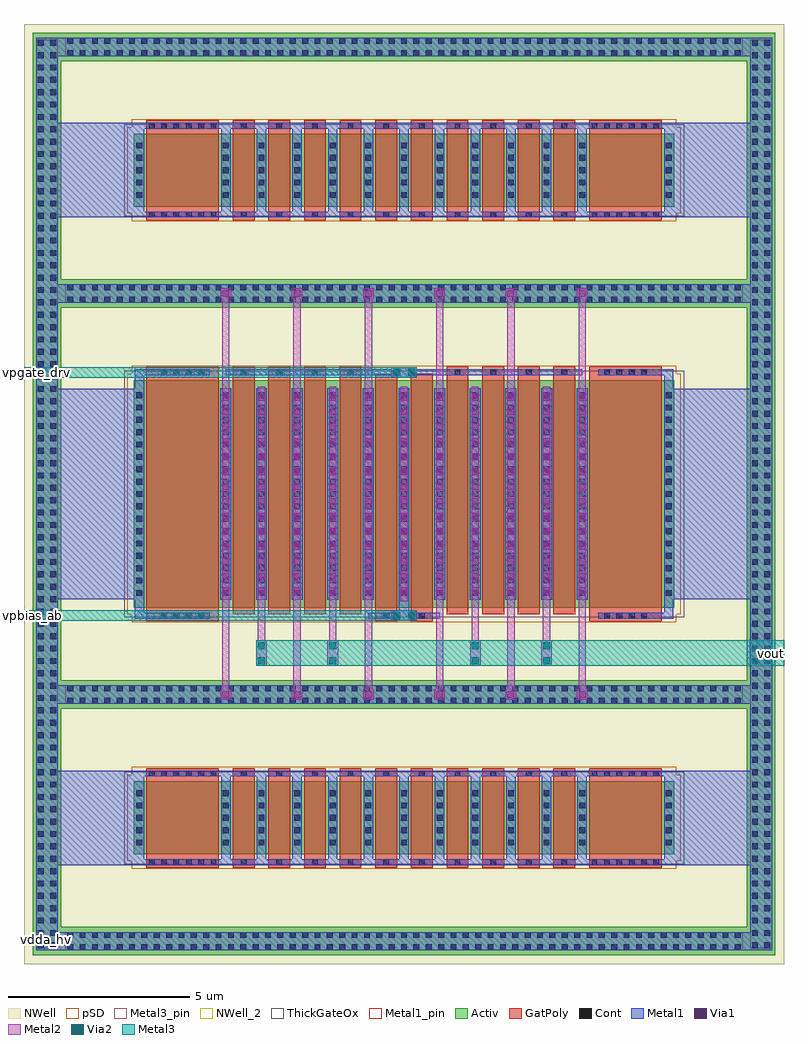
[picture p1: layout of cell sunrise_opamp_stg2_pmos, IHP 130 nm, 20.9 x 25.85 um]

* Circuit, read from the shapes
.subckt sunrise_opamp_stg2_pmos vdda_hv vout vpbias_ab vpgate_drv
XM1 vdda_hv vdda_hv vdda_hv vdda_hv sg13_hv_pmos w=2u l=2u m=4
XM2 vdda_hv vdda_hv vdda_hv vdda_hv sg13_hv_pmos w=6.25u l=2u m=2
XM3 vdda_hv vdda_hv vdda_hv vdda_hv sg13_hv_pmos w=2u l=0.6u m=20
XM4 vout vpgate_drv vdda_hv vdda_hv sg13_hv_pmos w=6.25u l=0.6u m=8
XM5 vpbias_ab vpbias_ab vdda_hv vdda_hv sg13_hv_pmos w=6.25u l=0.6u m=2
.ends

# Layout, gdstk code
from math import pi, radians
import gdstk
lib = gdstk.Library(unit=1e-6, precision=1e-09)
def R(c, l, rs):  # rectangles x0, y0, x1, y1
    for r in rs: c.add(gdstk.rectangle(r[:2], r[2:], *l))
def A(c, l, x, y, w, h, nx, ny, dx, dy):  # array of equal rectangles
    R(c, l, [(x+i*dx, y+j*dy, x+i*dx+w, y+j*dy+h) for i in range(nx) for j in range(ny)])
Activ = (1, 0)
GatPoly = (5, 0)
Cont = (6, 0)
Metal1 = (8, 0)
Metal1_pin = (8, 2)
Metal2 = (10, 0)
pSD = (14, 0)
Via1 = (19, 0)
Via2 = (29, 0)
Metal3 = (30, 0)
Metal3_pin = (30, 2)
NWell = (31, 0)
NWell_2 = (31, 2)
ThickGateOx = (44, 0)

sg13_hv_pmos_vvxtlb = lib.new_cell('sg13_hv_pmos_VVXTLB')
R(sg13_hv_pmos_vvxtlb, Activ, [(-1.13,-3.03,1.13,3.22)])
R(sg13_hv_pmos_vvxtlb, GatPoly, [(-0.79,-3.4,-0.19,3.4), (0.19,-3.4,0.79,3.4)])
A(sg13_hv_pmos_vvxtlb, Cont, -1.06, -2.705, 0.16, 0.16, 3, 17, 0.98, 0.34)
R(sg13_hv_pmos_vvxtlb, Cont, [(-0.57,-3.33,-0.41,-3.17), (0.41,-3.33,0.57,-3.17)])
A(sg13_hv_pmos_vvxtlb, Metal1, -1.13, -2.81, 0.3, 5.81, 3, 1, 0.98, 0)
R(sg13_hv_pmos_vvxtlb, Metal1, [(-0.98,-3.33,0.98,-3.17)])
A(sg13_hv_pmos_vvxtlb, Metal2, -1.08, -2.85, 0.2, 5.89, 3, 1, 0.98, 0)
R(sg13_hv_pmos_vvxtlb, pSD, [(-1.19,-3.43,1.19,-3.21), (-1.31,-3.21,1.31,3.4), (-1.19,3.4,1.19,3.62)])
A(sg13_hv_pmos_vvxtlb, Via1, -1.075, -2.665, 0.19, 0.19, 3, 14, 0.98, 0.41)
R(sg13_hv_pmos_vvxtlb, NWell, [(-1.75,-3.65,1.75,3.84)])
R(sg13_hv_pmos_vvxtlb, ThickGateOx, [(-1.4,-3.3,1.4,3.49)])
sg13_hv_pmos_vvxtlb.add(gdstk.Label('D0', (-0.98,0.095), layer=8, texttype=25))
sg13_hv_pmos_vvxtlb.add(gdstk.Label('G', (0.49,-3.25), layer=8, texttype=25))
sg13_hv_pmos_vvxtlb.add(gdstk.Label('G', (-0.49,-3.25), layer=8, texttype=25))
sg13_hv_pmos_vvxtlb.add(gdstk.Label('S1', (0,0.095), layer=8, texttype=25))

sg13_hv_pmos_d7lrqr = lib.new_cell('sg13_hv_pmos_D7LRQR')
R(sg13_hv_pmos_d7lrqr, Activ, [(-2.11,-3.22,2.11,3.03)])
A(sg13_hv_pmos_d7lrqr, GatPoly, -1.77, -3.4, 0.6, 6.8, 4, 1, 0.98, 0)
A(sg13_hv_pmos_d7lrqr, Cont, -2.04, -2.895, 0.16, 0.16, 5, 17, 0.98, 0.34)
A(sg13_hv_pmos_d7lrqr, Cont, -1.55, 3.17, 0.16, 0.16, 4, 1, 0.98, 0)
A(sg13_hv_pmos_d7lrqr, Metal1, -2.11, -3, 0.3, 5.81, 5, 1, 0.98, 0)
R(sg13_hv_pmos_d7lrqr, Metal1, [(-1.96,3.17,1.96,3.33)])
A(sg13_hv_pmos_d7lrqr, Metal2, -2.06, -3.04, 0.2, 5.89, 5, 1, 0.98, 0)
R(sg13_hv_pmos_d7lrqr, pSD, [(-2.17,-3.62,2.17,-3.4), (-2.29,-3.4,2.29,3.21), (-2.17,3.21,2.17,3.43)])
A(sg13_hv_pmos_d7lrqr, Via1, -2.055, -2.855, 0.19, 0.19, 5, 14, 0.98, 0.41)
R(sg13_hv_pmos_d7lrqr, NWell, [(-2.73,-3.84,2.73,3.65)])
R(sg13_hv_pmos_d7lrqr, ThickGateOx, [(-2.38,-3.49,2.38,3.3)])
sg13_hv_pmos_d7lrqr.add(gdstk.Label('D0', (-1.96,-0.095), layer=8, texttype=25))
sg13_hv_pmos_d7lrqr.add(gdstk.Label('G', (1.47,3.25), layer=8, texttype=25))
sg13_hv_pmos_d7lrqr.add(gdstk.Label('G', (0.49,3.25), layer=8, texttype=25))
sg13_hv_pmos_d7lrqr.add(gdstk.Label('G', (-0.49,3.25), layer=8, texttype=25))
sg13_hv_pmos_d7lrqr.add(gdstk.Label('G', (-1.47,3.25), layer=8, texttype=25))
sg13_hv_pmos_d7lrqr.add(gdstk.Label('S1', (-0.98,-0.095), layer=8, texttype=25))
sg13_hv_pmos_d7lrqr.add(gdstk.Label('D2', (0,-0.095), layer=8, texttype=25))
sg13_hv_pmos_d7lrqr.add(gdstk.Label('S3', (0.98,-0.095), layer=8, texttype=25))

sg13_hv_pmos_d7lrqr_1 = lib.new_cell('sg13_hv_pmos_D7LRQR$1')
R(sg13_hv_pmos_d7lrqr_1, Activ, [(-2.11,-3.22,2.11,3.03)])
A(sg13_hv_pmos_d7lrqr_1, GatPoly, -1.77, -3.4, 0.6, 6.8, 4, 1, 0.98, 0)
A(sg13_hv_pmos_d7lrqr_1, Cont, -2.04, -2.895, 0.16, 0.16, 5, 17, 0.98, 0.34)
A(sg13_hv_pmos_d7lrqr_1, Cont, -1.55, 3.17, 0.16, 0.16, 4, 1, 0.98, 0)
A(sg13_hv_pmos_d7lrqr_1, Metal1, -2.11, -3, 0.3, 5.81, 5, 1, 0.98, 0)
R(sg13_hv_pmos_d7lrqr_1, Metal1, [(-1.96,3.17,1.96,3.33)])
A(sg13_hv_pmos_d7lrqr_1, Metal2, -2.06, -3.04, 0.2, 5.89, 5, 1, 0.98, 0)
R(sg13_hv_pmos_d7lrqr_1, pSD, [(-2.17,-3.62,2.17,-3.4), (-2.29,-3.4,2.29,3.21), (-2.17,3.21,2.17,3.43)])
A(sg13_hv_pmos_d7lrqr_1, Via1, -2.055, -2.855, 0.19, 0.19, 5, 14, 0.98, 0.41)
R(sg13_hv_pmos_d7lrqr_1, NWell, [(-2.73,-3.84,2.73,3.65)])
R(sg13_hv_pmos_d7lrqr_1, ThickGateOx, [(-2.38,-3.49,2.38,3.3)])
sg13_hv_pmos_d7lrqr_1.add(gdstk.Label('D0', (-1.96,-0.095), layer=8, texttype=25))
sg13_hv_pmos_d7lrqr_1.add(gdstk.Label('G', (1.47,3.25), layer=8, texttype=25))
sg13_hv_pmos_d7lrqr_1.add(gdstk.Label('G', (0.49,3.25), layer=8, texttype=25))
sg13_hv_pmos_d7lrqr_1.add(gdstk.Label('G', (-0.49,3.25), layer=8, texttype=25))
sg13_hv_pmos_d7lrqr_1.add(gdstk.Label('G', (-1.47,3.25), layer=8, texttype=25))
sg13_hv_pmos_d7lrqr_1.add(gdstk.Label('S1', (-0.98,-0.095), layer=8, texttype=25))
sg13_hv_pmos_d7lrqr_1.add(gdstk.Label('D2', (0,-0.095), layer=8, texttype=25))
sg13_hv_pmos_d7lrqr_1.add(gdstk.Label('S3', (0.98,-0.095), layer=8, texttype=25))

sg13_hv_pmos_e8frch = lib.new_cell('sg13_hv_pmos_E8FRCH')
R(sg13_hv_pmos_e8frch, Activ, [(-1.34,-3.125,1.34,3.125)])
R(sg13_hv_pmos_e8frch, GatPoly, [(-1,-3.495,1,3.495)])
A(sg13_hv_pmos_e8frch, Cont, -0.59, -3.425, 0.16, 0.16, 4, 2, 0.34, 6.69)
A(sg13_hv_pmos_e8frch, Cont, -1.27, -2.8, 0.16, 0.16, 1, 17, 0, 0.34)
A(sg13_hv_pmos_e8frch, Cont, 1.11, -2.8, 0.16, 0.16, 1, 17, 0, 0.34)
R(sg13_hv_pmos_e8frch, Metal1, [(-0.75,-3.425,0.75,-3.265), (-1.32,-2.9,-1.06,2.9), (1.06,-2.9,1.32,2.9), (-0.75,3.265,0.75,3.425)])
R(sg13_hv_pmos_e8frch, pSD, [(-1.4,-3.525,1.4,-3.305), (-1.52,-3.305,1.52,3.305), (-1.4,3.305,1.4,3.525)])
R(sg13_hv_pmos_e8frch, NWell, [(-1.96,-3.745,1.96,3.745)])
R(sg13_hv_pmos_e8frch, ThickGateOx, [(-1.61,-3.395,1.61,3.395)])
sg13_hv_pmos_e8frch.add(gdstk.Label('D', (-1.19,0), layer=8, texttype=25))
sg13_hv_pmos_e8frch.add(gdstk.Label('S', (1.19,0), layer=8, texttype=25))
sg13_hv_pmos_e8frch.add(gdstk.Label('G', (0,3.345), layer=8, texttype=25))

sg13_hv_pmos_e8frch_1 = lib.new_cell('sg13_hv_pmos_E8FRCH$1')
R(sg13_hv_pmos_e8frch_1, Activ, [(-1.34,-3.125,1.34,3.125)])
R(sg13_hv_pmos_e8frch_1, GatPoly, [(-1,-3.495,1,3.495)])
A(sg13_hv_pmos_e8frch_1, Cont, -0.59, -3.425, 0.16, 0.16, 4, 2, 0.34, 6.69)
A(sg13_hv_pmos_e8frch_1, Cont, -1.27, -2.8, 0.16, 0.16, 1, 17, 0, 0.34)
A(sg13_hv_pmos_e8frch_1, Cont, 1.11, -2.8, 0.16, 0.16, 1, 17, 0, 0.34)
R(sg13_hv_pmos_e8frch_1, Metal1, [(-0.75,-3.425,0.75,-3.265), (-1.32,-2.9,-1.06,2.9), (1.06,-2.9,1.32,2.9), (-0.75,3.265,0.75,3.425)])
R(sg13_hv_pmos_e8frch_1, pSD, [(-1.4,-3.525,1.4,-3.305), (-1.52,-3.305,1.52,3.305), (-1.4,3.305,1.4,3.525)])
R(sg13_hv_pmos_e8frch_1, NWell, [(-1.96,-3.745,1.96,3.745)])
R(sg13_hv_pmos_e8frch_1, ThickGateOx, [(-1.61,-3.395,1.61,3.395)])
sg13_hv_pmos_e8frch_1.add(gdstk.Label('D', (-1.19,0), layer=8, texttype=25))
sg13_hv_pmos_e8frch_1.add(gdstk.Label('S', (1.19,0), layer=8, texttype=25))
sg13_hv_pmos_e8frch_1.add(gdstk.Label('G', (0,3.345), layer=8, texttype=25))

ntap1_1 = lib.new_cell('ntap1$1')
R(ntap1_1, Activ, [(0,0,0.78,18.86)])
A(ntap1_1, Cont, 0.14, 0.17, 0.16, 0.16, 1, 55, 0, 0.34)
A(ntap1_1, Cont, 0.48, 0.17, 0.16, 0.16, 1, 55, 0, 0.34)
R(ntap1_1, Metal1, [(0.14,0.12,0.64,18.74)])
R(ntap1_1, Metal1_pin, [(0.14,0.12,0.64,18.74), (0.14,0.17,0.64,18.69)])
R(ntap1_1, NWell, [(-0.24,-0.24,1.02,19.1), (0,0,0.78,18.86)])
R(ntap1_1, NWell_2, [(0,0,0.78,18.86)])
ntap1_1.add(gdstk.Label('well', (0.39,0.01), layer=31, texttype=0))
ntap1_1.add(gdstk.Label('well', (0.39,0.01), layer=63, texttype=0))

sg13_hv_pmos_brfjwf = lib.new_cell('sg13_hv_pmos_BRFJWF')
R(sg13_hv_pmos_brfjwf, Activ, [(-1.34,-1,1.34,1)])
R(sg13_hv_pmos_brfjwf, GatPoly, [(-1,-1.37,1,1.37)])
A(sg13_hv_pmos_brfjwf, Cont, -0.93, -1.3, 0.16, 0.16, 6, 2, 0.34, 2.44)
A(sg13_hv_pmos_brfjwf, Cont, -1.27, -0.76, 0.16, 0.16, 1, 5, 0, 0.34)
A(sg13_hv_pmos_brfjwf, Cont, 1.11, -0.76, 0.16, 0.16, 1, 5, 0, 0.34)
R(sg13_hv_pmos_brfjwf, Metal1, [(-1.19,-1.3,1.19,-1.14), (-1.32,-0.885,-1.06,0.885), (1.06,-0.885,1.32,0.885), (-1.19,1.14,1.19,1.3)])
R(sg13_hv_pmos_brfjwf, pSD, [(-1.4,-1.4,1.4,-1.18), (-1.52,-1.18,1.52,1.18), (-1.4,1.18,1.4,1.4)])
R(sg13_hv_pmos_brfjwf, NWell, [(-1.96,-1.62,1.96,1.62)])
R(sg13_hv_pmos_brfjwf, ThickGateOx, [(-1.61,-1.27,1.61,1.27)])
sg13_hv_pmos_brfjwf.add(gdstk.Label('D', (-1.19,0), layer=8, texttype=25))
sg13_hv_pmos_brfjwf.add(gdstk.Label('S', (1.19,0), layer=8, texttype=25))
sg13_hv_pmos_brfjwf.add(gdstk.Label('G', (0,1.22), layer=8, texttype=25))

sg13_hv_pmos_8mh9bs = lib.new_cell('sg13_hv_pmos_8MH9BS')
R(sg13_hv_pmos_8mh9bs, Activ, [(-5.05,-1,5.05,1)])
A(sg13_hv_pmos_8mh9bs, GatPoly, -4.71, -1.37, 0.6, 2.74, 10, 1, 0.98, 0)
A(sg13_hv_pmos_8mh9bs, Cont, -4.49, -1.3, 0.16, 0.16, 10, 2, 0.98, 2.44)
A(sg13_hv_pmos_8mh9bs, Cont, -4.98, -0.76, 0.16, 0.16, 11, 5, 0.98, 0.34)
A(sg13_hv_pmos_8mh9bs, Metal1, -5.03, -0.885, 0.26, 1.77, 11, 1, 0.98, 0)
R(sg13_hv_pmos_8mh9bs, Metal1, [(-4.9,-1.3,4.9,-1.14), (-4.9,1.14,4.9,1.3)])
R(sg13_hv_pmos_8mh9bs, pSD, [(-5.11,-1.4,5.11,-1.18), (-5.23,-1.18,5.23,1.18), (-5.11,1.18,5.11,1.4)])
R(sg13_hv_pmos_8mh9bs, NWell, [(-5.67,-1.62,5.67,1.62)])
R(sg13_hv_pmos_8mh9bs, ThickGateOx, [(-5.32,-1.27,5.32,1.27)])
sg13_hv_pmos_8mh9bs.add(gdstk.Label('D0', (-4.9,0), layer=8, texttype=25))
sg13_hv_pmos_8mh9bs.add(gdstk.Label('G', (4.41,1.22), layer=8, texttype=25))
sg13_hv_pmos_8mh9bs.add(gdstk.Label('G', (3.43,1.22), layer=8, texttype=25))
sg13_hv_pmos_8mh9bs.add(gdstk.Label('G', (2.45,1.22), layer=8, texttype=25))
sg13_hv_pmos_8mh9bs.add(gdstk.Label('G', (1.47,1.22), layer=8, texttype=25))
sg13_hv_pmos_8mh9bs.add(gdstk.Label('G', (0.49,1.22), layer=8, texttype=25))
sg13_hv_pmos_8mh9bs.add(gdstk.Label('G', (-0.49,1.22), layer=8, texttype=25))
sg13_hv_pmos_8mh9bs.add(gdstk.Label('G', (-1.47,1.22), layer=8, texttype=25))
sg13_hv_pmos_8mh9bs.add(gdstk.Label('G', (-2.45,1.22), layer=8, texttype=25))
sg13_hv_pmos_8mh9bs.add(gdstk.Label('G', (-3.43,1.22), layer=8, texttype=25))
sg13_hv_pmos_8mh9bs.add(gdstk.Label('G', (-4.41,1.22), layer=8, texttype=25))
sg13_hv_pmos_8mh9bs.add(gdstk.Label('S1', (-3.92,0), layer=8, texttype=25))
sg13_hv_pmos_8mh9bs.add(gdstk.Label('D2', (-2.94,0), layer=8, texttype=25))
sg13_hv_pmos_8mh9bs.add(gdstk.Label('S3', (-1.96,0), layer=8, texttype=25))
sg13_hv_pmos_8mh9bs.add(gdstk.Label('D4', (-0.98,0), layer=8, texttype=25))
sg13_hv_pmos_8mh9bs.add(gdstk.Label('S5', (0,0), layer=8, texttype=25))
sg13_hv_pmos_8mh9bs.add(gdstk.Label('D6', (0.98,0), layer=8, texttype=25))
sg13_hv_pmos_8mh9bs.add(gdstk.Label('S7', (1.96,0), layer=8, texttype=25))
sg13_hv_pmos_8mh9bs.add(gdstk.Label('D8', (2.94,0), layer=8, texttype=25))
sg13_hv_pmos_8mh9bs.add(gdstk.Label('S9', (3.92,0), layer=8, texttype=25))

sg13_hv_pmos_brfjwf_1 = lib.new_cell('sg13_hv_pmos_BRFJWF$1')
R(sg13_hv_pmos_brfjwf_1, Activ, [(-1.34,-1,1.34,1)])
R(sg13_hv_pmos_brfjwf_1, GatPoly, [(-1,-1.37,1,1.37)])
A(sg13_hv_pmos_brfjwf_1, Cont, -0.93, -1.3, 0.16, 0.16, 6, 2, 0.34, 2.44)
A(sg13_hv_pmos_brfjwf_1, Cont, -1.27, -0.76, 0.16, 0.16, 1, 5, 0, 0.34)
A(sg13_hv_pmos_brfjwf_1, Cont, 1.11, -0.76, 0.16, 0.16, 1, 5, 0, 0.34)
R(sg13_hv_pmos_brfjwf_1, Metal1, [(-1.19,-1.3,1.19,-1.14), (-1.32,-0.885,-1.06,0.885), (1.06,-0.885,1.32,0.885), (-1.19,1.14,1.19,1.3)])
R(sg13_hv_pmos_brfjwf_1, pSD, [(-1.4,-1.4,1.4,-1.18), (-1.52,-1.18,1.52,1.18), (-1.4,1.18,1.4,1.4)])
R(sg13_hv_pmos_brfjwf_1, NWell, [(-1.96,-1.62,1.96,1.62)])
R(sg13_hv_pmos_brfjwf_1, ThickGateOx, [(-1.61,-1.27,1.61,1.27)])
sg13_hv_pmos_brfjwf_1.add(gdstk.Label('D', (-1.19,0), layer=8, texttype=25))
sg13_hv_pmos_brfjwf_1.add(gdstk.Label('S', (1.19,0), layer=8, texttype=25))
sg13_hv_pmos_brfjwf_1.add(gdstk.Label('G', (0,1.22), layer=8, texttype=25))

sg13_hv_pmos_brfjwf_2 = lib.new_cell('sg13_hv_pmos_BRFJWF$2')
R(sg13_hv_pmos_brfjwf_2, Activ, [(-1.34,-1,1.34,1)])
R(sg13_hv_pmos_brfjwf_2, GatPoly, [(-1,-1.37,1,1.37)])
A(sg13_hv_pmos_brfjwf_2, Cont, -0.93, -1.3, 0.16, 0.16, 6, 2, 0.34, 2.44)
A(sg13_hv_pmos_brfjwf_2, Cont, -1.27, -0.76, 0.16, 0.16, 1, 5, 0, 0.34)
A(sg13_hv_pmos_brfjwf_2, Cont, 1.11, -0.76, 0.16, 0.16, 1, 5, 0, 0.34)
R(sg13_hv_pmos_brfjwf_2, Metal1, [(-1.19,-1.3,1.19,-1.14), (-1.32,-0.885,-1.06,0.885), (1.06,-0.885,1.32,0.885), (-1.19,1.14,1.19,1.3)])
R(sg13_hv_pmos_brfjwf_2, pSD, [(-1.4,-1.4,1.4,-1.18), (-1.52,-1.18,1.52,1.18), (-1.4,1.18,1.4,1.4)])
R(sg13_hv_pmos_brfjwf_2, NWell, [(-1.96,-1.62,1.96,1.62)])
R(sg13_hv_pmos_brfjwf_2, ThickGateOx, [(-1.61,-1.27,1.61,1.27)])
sg13_hv_pmos_brfjwf_2.add(gdstk.Label('D', (-1.19,0), layer=8, texttype=25))
sg13_hv_pmos_brfjwf_2.add(gdstk.Label('S', (1.19,0), layer=8, texttype=25))
sg13_hv_pmos_brfjwf_2.add(gdstk.Label('G', (0,1.22), layer=8, texttype=25))

sg13_hv_pmos_8mh9bs_1 = lib.new_cell('sg13_hv_pmos_8MH9BS$1')
R(sg13_hv_pmos_8mh9bs_1, Activ, [(-5.05,-1,5.05,1)])
A(sg13_hv_pmos_8mh9bs_1, GatPoly, -4.71, -1.37, 0.6, 2.74, 10, 1, 0.98, 0)
A(sg13_hv_pmos_8mh9bs_1, Cont, -4.49, -1.3, 0.16, 0.16, 10, 2, 0.98, 2.44)
A(sg13_hv_pmos_8mh9bs_1, Cont, -4.98, -0.76, 0.16, 0.16, 11, 5, 0.98, 0.34)
A(sg13_hv_pmos_8mh9bs_1, Metal1, -5.03, -0.885, 0.26, 1.77, 11, 1, 0.98, 0)
R(sg13_hv_pmos_8mh9bs_1, Metal1, [(-4.9,-1.3,4.9,-1.14), (-4.9,1.14,4.9,1.3)])
R(sg13_hv_pmos_8mh9bs_1, pSD, [(-5.11,-1.4,5.11,-1.18), (-5.23,-1.18,5.23,1.18), (-5.11,1.18,5.11,1.4)])
R(sg13_hv_pmos_8mh9bs_1, NWell, [(-5.67,-1.62,5.67,1.62)])
R(sg13_hv_pmos_8mh9bs_1, ThickGateOx, [(-5.32,-1.27,5.32,1.27)])
sg13_hv_pmos_8mh9bs_1.add(gdstk.Label('D0', (-4.9,0), layer=8, texttype=25))
sg13_hv_pmos_8mh9bs_1.add(gdstk.Label('G', (4.41,1.22), layer=8, texttype=25))
sg13_hv_pmos_8mh9bs_1.add(gdstk.Label('G', (3.43,1.22), layer=8, texttype=25))
sg13_hv_pmos_8mh9bs_1.add(gdstk.Label('G', (2.45,1.22), layer=8, texttype=25))
sg13_hv_pmos_8mh9bs_1.add(gdstk.Label('G', (1.47,1.22), layer=8, texttype=25))
sg13_hv_pmos_8mh9bs_1.add(gdstk.Label('G', (0.49,1.22), layer=8, texttype=25))
sg13_hv_pmos_8mh9bs_1.add(gdstk.Label('G', (-0.49,1.22), layer=8, texttype=25))
sg13_hv_pmos_8mh9bs_1.add(gdstk.Label('G', (-1.47,1.22), layer=8, texttype=25))
sg13_hv_pmos_8mh9bs_1.add(gdstk.Label('G', (-2.45,1.22), layer=8, texttype=25))
sg13_hv_pmos_8mh9bs_1.add(gdstk.Label('G', (-3.43,1.22), layer=8, texttype=25))
sg13_hv_pmos_8mh9bs_1.add(gdstk.Label('G', (-4.41,1.22), layer=8, texttype=25))
sg13_hv_pmos_8mh9bs_1.add(gdstk.Label('S1', (-3.92,0), layer=8, texttype=25))
sg13_hv_pmos_8mh9bs_1.add(gdstk.Label('D2', (-2.94,0), layer=8, texttype=25))
sg13_hv_pmos_8mh9bs_1.add(gdstk.Label('S3', (-1.96,0), layer=8, texttype=25))
sg13_hv_pmos_8mh9bs_1.add(gdstk.Label('D4', (-0.98,0), layer=8, texttype=25))
sg13_hv_pmos_8mh9bs_1.add(gdstk.Label('S5', (0,0), layer=8, texttype=25))
sg13_hv_pmos_8mh9bs_1.add(gdstk.Label('D6', (0.98,0), layer=8, texttype=25))
sg13_hv_pmos_8mh9bs_1.add(gdstk.Label('S7', (1.96,0), layer=8, texttype=25))
sg13_hv_pmos_8mh9bs_1.add(gdstk.Label('D8', (2.94,0), layer=8, texttype=25))
sg13_hv_pmos_8mh9bs_1.add(gdstk.Label('S9', (3.92,0), layer=8, texttype=25))

sg13_hv_pmos_brfjwf_1_1 = lib.new_cell('sg13_hv_pmos_BRFJWF$1$1')
R(sg13_hv_pmos_brfjwf_1_1, Activ, [(-1.34,-1,1.34,1)])
R(sg13_hv_pmos_brfjwf_1_1, GatPoly, [(-1,-1.37,1,1.37)])
A(sg13_hv_pmos_brfjwf_1_1, Cont, -0.93, -1.3, 0.16, 0.16, 6, 2, 0.34, 2.44)
A(sg13_hv_pmos_brfjwf_1_1, Cont, -1.27, -0.76, 0.16, 0.16, 1, 5, 0, 0.34)
A(sg13_hv_pmos_brfjwf_1_1, Cont, 1.11, -0.76, 0.16, 0.16, 1, 5, 0, 0.34)
R(sg13_hv_pmos_brfjwf_1_1, Metal1, [(-1.19,-1.3,1.19,-1.14), (-1.32,-0.885,-1.06,0.885), (1.06,-0.885,1.32,0.885), (-1.19,1.14,1.19,1.3)])
R(sg13_hv_pmos_brfjwf_1_1, pSD, [(-1.4,-1.4,1.4,-1.18), (-1.52,-1.18,1.52,1.18), (-1.4,1.18,1.4,1.4)])
R(sg13_hv_pmos_brfjwf_1_1, NWell, [(-1.96,-1.62,1.96,1.62)])
R(sg13_hv_pmos_brfjwf_1_1, ThickGateOx, [(-1.61,-1.27,1.61,1.27)])
sg13_hv_pmos_brfjwf_1_1.add(gdstk.Label('D', (-1.19,0), layer=8, texttype=25))
sg13_hv_pmos_brfjwf_1_1.add(gdstk.Label('S', (1.19,0), layer=8, texttype=25))
sg13_hv_pmos_brfjwf_1_1.add(gdstk.Label('G', (0,1.22), layer=8, texttype=25))

ntap1 = lib.new_cell('ntap1')
R(ntap1, Activ, [(0,0,25.37,0.78)])
A(ntap1, Cont, 0.195, 0.14, 0.16, 0.16, 74, 2, 0.34, 0.34)
R(ntap1, Metal1, [(0.195,0.09,25.175,0.69)])
R(ntap1, Metal1_pin, [(0.195,0.09,25.175,0.69), (0.195,0.14,25.175,0.64)])
R(ntap1, NWell, [(-0.24,-0.24,25.61,1.02), (0,0,25.37,0.78)])
R(ntap1, NWell_2, [(0,0,25.37,0.78)])
ntap1.add(gdstk.Label('well', (12.685,0.01), layer=31, texttype=0))
ntap1.add(gdstk.Label('well', (12.685,0.01), layer=63, texttype=0))

via_stack_1 = lib.new_cell('via_stack$1')
R(via_stack_1, Metal1, [(-0.145,-0.35,0.145,0.35)])
R(via_stack_1, Metal2, [(-0.145,-0.35,0.145,0.35)])
R(via_stack_1, Via1, [(-0.095,-0.3,0.095,-0.11), (-0.095,0.11,0.095,0.3)])
R(via_stack_1, Via2, [(-0.095,-0.3,0.095,-0.11), (-0.095,0.11,0.095,0.3)])
R(via_stack_1, Metal3, [(-0.145,-0.35,0.145,0.35)])

via_stack = lib.new_cell('via_stack')
R(via_stack, Metal2, [(-0.35,-0.145,0.35,0.145)])
R(via_stack, Via2, [(-0.3,-0.095,-0.11,0.095), (0.11,-0.095,0.3,0.095)])
R(via_stack, Metal3, [(-0.35,-0.145,0.35,0.145)])

via_stack_2_1 = lib.new_cell('via_stack$2$1')
R(via_stack_2_1, Metal1, [(-0.145,-0.145,0.145,0.145)])
R(via_stack_2_1, Metal2, [(-0.145,-0.145,0.145,0.145)])
R(via_stack_2_1, Via1, [(-0.095,-0.095,0.095,0.095)])

sunrise_opamp_stg2_pmos = lib.new_cell('sunrise_opamp_stg2_pmos')
A(sunrise_opamp_stg2_pmos, Metal1, 3.02, -6.3, 0.26, 0.255, 11, 2, 0.98, 2.025)
A(sunrise_opamp_stg2_pmos, Metal1, 3.02, 11.51, 0.26, 0.255, 11, 2, 0.98, 2.025)
R(sunrise_opamp_stg2_pmos, Metal1, [(-2.07,-8.8,-1.47,-8.745), (-1.47,-8.8,-1.26,-8.3), (17.36,-8.8,17.57,-8.3), (17.57,-8.8,18.17,-8.745), (-1.47,-6.46,0.9,-3.86), (15.2,-6.46,17.57,-3.86), (-1.47,-2.02,-1.26,-1.52), (17.36,-2.02,17.57,-1.52), (0.64,0.32,0.9,0.845), (0.9,0.32,1.21,0.48), (14.89,0.32,15.2,0.48), (15.2,0.32,15.46,0.845), (7.9,0.545,8.2,0.84), (-1.47,0.845,0.64,6.645), (15.46,0.845,17.57,6.645), (0.64,6.645,0.9,7.17), (15.2,6.645,15.46,7.17), (0.9,7.01,1.21,7.17), (14.89,7.01,15.2,7.17), (-1.47,9.01,-1.26,9.51), (17.36,9.01,17.57,9.51), (-1.47,11.35,0.9,13.95), (15.2,11.35,17.57,13.95), (3.02,13.535,3.28,13.79), (-1.47,15.79,-1.26,16.29), (17.36,15.79,17.57,16.29), (-2.07,16.235,-1.47,16.29), (17.57,16.235,18.17,16.29)])
R(sunrise_opamp_stg2_pmos, Metal1_pin, [(-2.02,-8.745,-1.52,-8.245)])
R(sunrise_opamp_stg2_pmos, Metal3_pin, [(17.8,-0.98,18.5,-0.28), (-2.4,0.255,-2.11,0.545), (-2.4,6.945,-2.11,7.235)])
R(sunrise_opamp_stg2_pmos, NWell, [(-2.4,-9.18,18.5,16.67)])
sunrise_opamp_stg2_pmos.add(gdstk.FlexPath([(7.07,7.09),(9.03,7.09),(9.03,7.09)], 0.16, ends="flush", simple_path=True, layer=8, datatype=0))  # Metal1
sunrise_opamp_stg2_pmos.add(gdstk.FlexPath([(4.13,-0.63),(4.13,0.8)], 0.2, ends="flush", simple_path=True, layer=10, datatype=0))  # Metal2
sunrise_opamp_stg2_pmos.add(gdstk.FlexPath([(6.09,-0.63),(6.09,0.8)], 0.2, ends="flush", simple_path=True, layer=10, datatype=0))  # Metal2
sunrise_opamp_stg2_pmos.add(gdstk.FlexPath([(10.01,-0.63),(10.01,0.8)], 0.2, ends="flush", simple_path=True, layer=10, datatype=0))  # Metal2
sunrise_opamp_stg2_pmos.add(gdstk.FlexPath([(11.97,-0.63),(11.97,0.8)], 0.2, ends="flush", simple_path=True, layer=10, datatype=0))  # Metal2
sunrise_opamp_stg2_pmos.add(gdstk.FlexPath([(3.15,9.26),(3.15,-1.77)], 0.2, ends="flush", simple_path=True, layer=10, datatype=0))  # Metal2
sunrise_opamp_stg2_pmos.add(gdstk.FlexPath([(5.11,9.26),(5.11,-1.77)], 0.2, ends="flush", simple_path=True, layer=10, datatype=0))  # Metal2
sunrise_opamp_stg2_pmos.add(gdstk.FlexPath([(7.07,9.26),(7.07,-1.77)], 0.2, ends="flush", simple_path=True, layer=10, datatype=0))  # Metal2
sunrise_opamp_stg2_pmos.add(gdstk.FlexPath([(9.03,9.26),(9.03,-1.77)], 0.2, ends="flush", simple_path=True, layer=10, datatype=0))  # Metal2
sunrise_opamp_stg2_pmos.add(gdstk.FlexPath([(10.99,9.26),(10.99,-1.77)], 0.2, ends="flush", simple_path=True, layer=10, datatype=0))  # Metal2
sunrise_opamp_stg2_pmos.add(gdstk.FlexPath([(12.95,9.26),(12.95,-1.77)], 0.2, ends="flush", simple_path=True, layer=10, datatype=0))  # Metal2
sunrise_opamp_stg2_pmos.add(gdstk.FlexPath([(8.05,7.09),(-2.4,7.09)], 0.29, ends="flush", simple_path=True, layer=30, datatype=0))  # Metal3
sunrise_opamp_stg2_pmos.add(gdstk.FlexPath([(8.05,0.4),(-2.4,0.4),(-2.4,0.4)], 0.29, ends="flush", simple_path=True, layer=30, datatype=0))  # Metal3
sunrise_opamp_stg2_pmos.add(gdstk.FlexPath([(3.985,-0.63),(18.5,-0.63)], 0.7, ends="flush", simple_path=True, layer=30, datatype=0))  # Metal3
sunrise_opamp_stg2_pmos.add(gdstk.Reference(sg13_hv_pmos_vvxtlb, (8.05,3.65)))
sunrise_opamp_stg2_pmos.add(gdstk.Reference(sg13_hv_pmos_d7lrqr, (10.99,3.84)))
sunrise_opamp_stg2_pmos.add(gdstk.Reference(sg13_hv_pmos_d7lrqr_1, (5.11,3.84)))
sunrise_opamp_stg2_pmos.add(gdstk.Reference(sg13_hv_pmos_e8frch, (1.96,3.745)))
sunrise_opamp_stg2_pmos.add(gdstk.Reference(sg13_hv_pmos_e8frch_1, (14.14,3.745)))
sunrise_opamp_stg2_pmos.add(gdstk.Reference(ntap1_1, (17.48,-2.16), rotation=pi/2))
sunrise_opamp_stg2_pmos.add(gdstk.Reference(ntap1_1, (17.48,8.87), rotation=pi/2))
sunrise_opamp_stg2_pmos.add(gdstk.Reference(sg13_hv_pmos_brfjwf, (1.96,12.65)))
sunrise_opamp_stg2_pmos.add(gdstk.Reference(sg13_hv_pmos_8mh9bs, (8.05,12.65)))
sunrise_opamp_stg2_pmos.add(gdstk.Reference(sg13_hv_pmos_brfjwf_1, (14.14,12.65)))
sunrise_opamp_stg2_pmos.add(gdstk.Reference(ntap1_1, (17.48,15.65), rotation=pi/2))
sunrise_opamp_stg2_pmos.add(gdstk.Reference(sg13_hv_pmos_brfjwf_2, (1.96,-5.16), x_reflection=True))
sunrise_opamp_stg2_pmos.add(gdstk.Reference(sg13_hv_pmos_8mh9bs_1, (8.05,-5.16), x_reflection=True))
sunrise_opamp_stg2_pmos.add(gdstk.Reference(sg13_hv_pmos_brfjwf_1_1, (14.14,-5.16), x_reflection=True))
sunrise_opamp_stg2_pmos.add(gdstk.Reference(ntap1_1, (17.48,-8.16), rotation=3*pi/2, x_reflection=True))
sunrise_opamp_stg2_pmos.add(gdstk.Reference(ntap1, (18.26,-8.94), rotation=pi/2))
sunrise_opamp_stg2_pmos.add(gdstk.Reference(ntap1, (-1.38,-8.94), rotation=pi/2))
sunrise_opamp_stg2_pmos.add(gdstk.Reference(via_stack_1, (8.05,7.09), rotation=pi/2))
sunrise_opamp_stg2_pmos.add(gdstk.Reference(via_stack_1, (8.05,0.4), rotation=pi/2))
sunrise_opamp_stg2_pmos.add(gdstk.Reference(via_stack, (4.13,-0.63), rotation=pi/2))
sunrise_opamp_stg2_pmos.add(gdstk.Reference(via_stack, (6.09,-0.63), rotation=pi/2))
sunrise_opamp_stg2_pmos.add(gdstk.Reference(via_stack, (10.01,-0.63), rotation=pi/2))
sunrise_opamp_stg2_pmos.add(gdstk.Reference(via_stack, (11.97,-0.63), rotation=pi/2))
sunrise_opamp_stg2_pmos.add(gdstk.Reference(via_stack_2_1, (3.15,9.26), rotation=pi/2))
sunrise_opamp_stg2_pmos.add(gdstk.Reference(via_stack_2_1, (5.11,9.26), rotation=pi/2))
sunrise_opamp_stg2_pmos.add(gdstk.Reference(via_stack_2_1, (7.07,9.26), rotation=pi/2))
sunrise_opamp_stg2_pmos.add(gdstk.Reference(via_stack_2_1, (9.03,9.26), rotation=pi/2))
sunrise_opamp_stg2_pmos.add(gdstk.Reference(via_stack_2_1, (10.99,9.26), rotation=pi/2))
sunrise_opamp_stg2_pmos.add(gdstk.Reference(via_stack_2_1, (12.95,9.26), rotation=pi/2))
sunrise_opamp_stg2_pmos.add(gdstk.Reference(via_stack_2_1, (3.15,-1.77), rotation=pi/2))
sunrise_opamp_stg2_pmos.add(gdstk.Reference(via_stack_2_1, (5.11,-1.77), rotation=pi/2))
sunrise_opamp_stg2_pmos.add(gdstk.Reference(via_stack_2_1, (7.07,-1.77), rotation=pi/2))
sunrise_opamp_stg2_pmos.add(gdstk.Reference(via_stack_2_1, (9.03,-1.77), rotation=pi/2))
sunrise_opamp_stg2_pmos.add(gdstk.Reference(via_stack_2_1, (10.99,-1.77), rotation=pi/2))
sunrise_opamp_stg2_pmos.add(gdstk.Reference(via_stack_2_1, (12.95,-1.77), rotation=pi/2))
sunrise_opamp_stg2_pmos.add(gdstk.Label('vdda_hv', (-1.77,-8.495), layer=8, texttype=25))
sunrise_opamp_stg2_pmos.add(gdstk.Label('vpgate_drv', (-2.255,7.09), layer=30, texttype=25))
sunrise_opamp_stg2_pmos.add(gdstk.Label('vpbias_ab', (-2.255,0.4), layer=30, texttype=25))
sunrise_opamp_stg2_pmos.add(gdstk.Label('vout', (18.15,-0.63), layer=30, texttype=25))

lib.write_gds('sunrise_opamp_stg2_pmos.gds')
